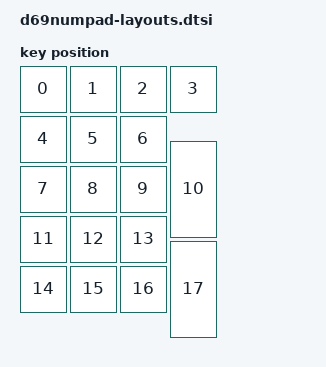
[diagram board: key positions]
#include <physical_layouts.dtsi>

/ {
    d69numpad_physical_layout: d69numpad_physical_layout {
        compatible = "zmk,physical-layout-position-map";
	complete;
        display-name = "d69 numpad";
        transform = <&default_transform>;
        kscan = <&kscan0>;
        keys  //                     w   h    x    y     rot    rx    ry
            = <&key_physical_attrs 100 100    0    0       0     0     0>
            , <&key_physical_attrs 100 100  100    0       0     0     0>
            , <&key_physical_attrs 100 100  200    0       0     0     0>
            , <&key_physical_attrs 100 100  300    0       0     0     0>
            , <&key_physical_attrs 100 100    0  100       0     0     0>
            , <&key_physical_attrs 100 100  100  100       0     0     0>
            , <&key_physical_attrs 100 100  200  100       0     0     0>
            , <&key_physical_attrs 100 100    0  200       0     0     0>
            , <&key_physical_attrs 100 100  100  200       0     0     0>
            , <&key_physical_attrs 100 100  200  200       0     0     0>
            , <&key_physical_attrs 100 200  300  150       0     0     0>
            , <&key_physical_attrs 100 100    0  300       0     0     0>
            , <&key_physical_attrs 100 100  100  300       0     0     0>
            , <&key_physical_attrs 100 100  200  300       0     0     0>
            , <&key_physical_attrs 100 100    0  400       0     0     0>
            , <&key_physical_attrs 100 100  100  400       0     0     0>
            , <&key_physical_attrs 100 100  200  400       0     0     0>
            , <&key_physical_attrs 100 200  300  350       0     0     0>
            ;

        d69numpad_map: d69numpad {
            physical-layout = <&d69numpad_layout>;
            positions
                = < 0  1  2  3>
                , < 4  5  6   >
                , < 7  8  9 10>
                , <11 12 13   >
                , <14 15 16 17>;
        };
    };
};
